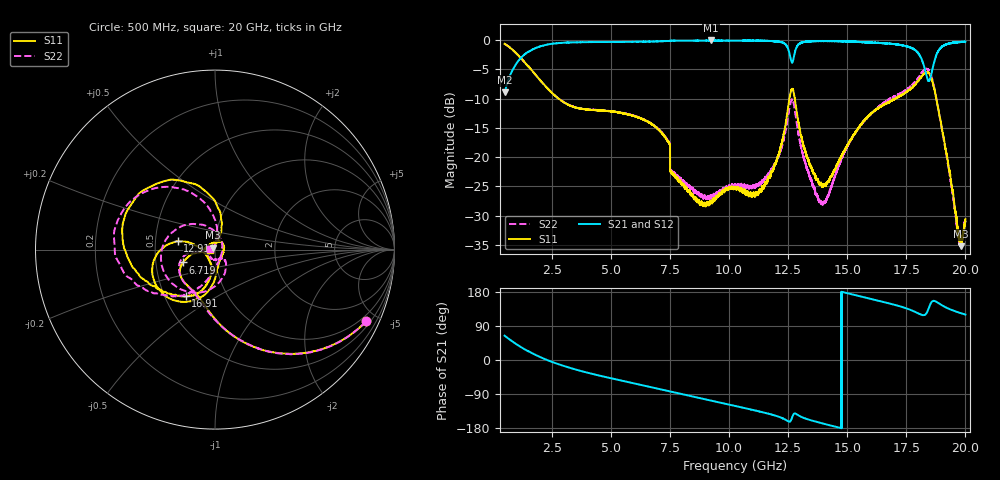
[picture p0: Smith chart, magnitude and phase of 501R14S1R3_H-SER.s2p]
!{501R14S1R3}
!Johanson Technology Inc.
!www.johansontechnology.com
!Test Board Conditions:
!Substrate Type  RO4350B
!Substrate Thickness  20 mil
!Substrate Dk  3.66
!TL Type: GCPW
!TL Trace Width  36 mil
!TL Gap  12 mil
!Electrode orientation  Horizontal
!DUT TOPOLOGY	SERIES
!Mounting Pad LxW  26x36 mil
! Created Wed Mar 11 15:54:28 2020
# mhz S ma R 50
! 2 Port Network Data from SP1.SP block
! freq  magS11  angS11  magS21  angS21  magS12  angS12  magS22  angS22
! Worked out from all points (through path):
!   19501 points, 500 MHz to 20 GHz, reference 50 ohm
!   highest |S21| = -0.04 dB at 9.234 GHz (marker M1); lowest = -8.9 dB at 500 MHz (marker M2)
!   group delay of S21, straight-line fit = 39.2 ps
!   lowest |S11| = -35.2 dB at 19.81 GHz (marker M3), VSWR 1.04, Z = 48.7 + j1.09 ohm
!   |S11| at or under -10 dB: 2.786 GHz to 12.55 GHz (9.768 GHz wide, 127 % of centre); 12.78 GHz to 17.02 GHz (4.241 GHz wide, 28.5 % of centre); 18.77 GHz to end of sweep (the widest 3 of 4)
!   |S22| runs from -35.2 to -0.6 dB; largest |S21 - S12| = 0.017
!   S11 on the Smith chart (normalised r, x): 500 MHz: 0.72, -4.31; 6.719 GHz: 0.69, -0.10; 12.91 GHz: 0.65, +0.06; 16.91 GHz: 0.64, -0.37; 20 GHz: 0.94, +0.00
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500  0.9311 -25.5  0.3596 64.2  0.3608 64.3  0.9303 -25.5
1958  0.4667 -80.7  0.8801 9.1  0.8807 9.1  0.4667 -80.7
3750  0.2596 -118.0  0.9618 -29.3  0.9622 -29.3  0.2598 -120.6
6719  0.1924 -158.1  0.9741 -72.1  0.9757 -72.0  0.1922 -164.5
7000  0.1731 -161.6  0.979 -76.0  0.9796 -76.0  0.1741 -168.8
7598  0.07212 -170.3  0.9909 -84.5  0.9922 -84.4  0.07452 -172.3
9234  0.04183 97.9  0.9955 -107.3  0.9925 -107.3  0.04734 -135.2
10250  0.0554 37.9  0.9922 -121.1  0.9909 -121.2  0.05902 -99.7
11538  0.06028 -59.0  0.9886 -139.8  0.9882 -139.7  0.06751 -50.5
12539  0.3025 -111.7  0.7947 -162.7  0.7994 -162.8  0.2532 -109.3
12705  0.3775 -157.4  0.6678 -145.4  0.672 -145.6  0.3009 -174.8
12911  0.2119 167.5  0.9086 -145.0  0.9088 -145.3  0.1684 123.6
13500  0.07912 178.4  0.9802 -159.8  0.9785 -159.9  0.06105 54.8
14030  0.05855 -140.5  0.9839 -168.7  0.9845 -168.7  0.04078 -19.6
15313  0.1589 -100.2  0.9708 171.6  0.9741 171.5  0.1584 -101.3
16750  0.2936 -119.6  0.9372 149.7  0.9295 149.4  0.3114 -124.5
16909  0.3074 -122.2  0.9294 147.1  0.9274 146.8  0.3252 -127.0
17973  0.4436 -160.5  0.787 124.2  0.7768 124.0  0.4651 -154.0
18495  0.5079 137.1  0.4594 144.1  0.4557 144.7  0.5345 147.9
18909  0.2234 84.3  0.8398 148.3  0.8417 148.3  0.2237 97.4
19809  0.01734 139.8  0.9653 123.7  0.9643 123.8  0.01928 136.9
20000  0.02952 179.0  0.9684 119.9  0.9667 120.0  0.02801 175.8
